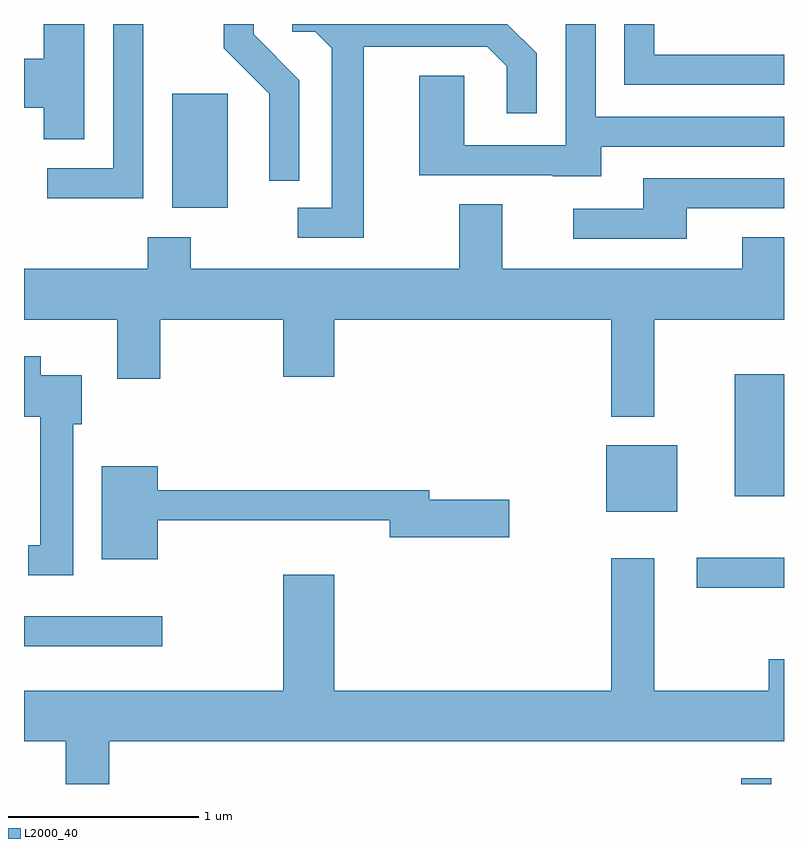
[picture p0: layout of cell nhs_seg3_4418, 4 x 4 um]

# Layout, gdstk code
import gdstk
lib = gdstk.Library(unit=1e-6, precision=1e-09)
def R(c, l, rs):  # rectangles x0, y0, x1, y1
    for r in rs: c.add(gdstk.rectangle(r[:2], r[2:], *l))
def P(c, l, *ps):  # polygons
    for p in ps: c.add(gdstk.Polygon(p, *l))
L2000_40 = (2000, 40)

nhs_seg3_4418 = lib.new_cell('nhs_seg3_4418')
R(nhs_seg3_4418, L2000_40, [(317.386,1247.892,317.544,1247.923), (313.611,1248.616,314.338,1248.774), (317.153,1248.926,317.611,1249.084), (316.676,1249.326,317.049,1249.674), (317.351,1249.406,317.611,1250.049), (314.391,1250.926,314.684,1251.524)])
P(nhs_seg3_4418, L2000_40, [(313.929,1251.892),(313.716,1251.892),(313.716,1251.709),(313.611,1251.709),(313.611,1251.451),(313.716,1251.451),(313.716,1251.286),(313.929,1251.286)],
  [(315.399,1251.771),(316.049,1251.771),(316.151,1251.669),(316.151,1251.423),(316.309,1251.423),(316.309,1251.737),(316.154,1251.892),(315.023,1251.892),(315.023,1251.851),(315.144,1251.851),(315.231,1251.764),(315.231,1250.924),(315.053,1250.924),(315.053,1250.766),(315.399,1250.766)],
  [(316.649,1251.246),(317.611,1251.246),(317.611,1251.404),(316.619,1251.404),(316.619,1251.892),(316.461,1251.892),(316.461,1251.254),(315.929,1251.254),(315.929,1251.619),(315.691,1251.619),(315.691,1251.096),(316.395,1251.096),(316.395,1251.091),(316.649,1251.091)],
  [(314.239,1251.892),(314.081,1251.892),(314.081,1251.134),(313.733,1251.134),(313.733,1250.976),(314.239,1250.976)],
  [(315.059,1251.597),(314.819,1251.837),(314.819,1251.892),(314.661,1251.892),(314.661,1251.764),(314.901,1251.524),(314.901,1251.068),(315.059,1251.068)],
  [(317.611,1251.729),(316.929,1251.729),(316.929,1251.892),(316.771,1251.892),(316.771,1251.571),(317.611,1251.571)],
  [(317.099,1250.921),(317.611,1250.921),(317.611,1251.079),(316.871,1251.079),(316.871,1250.919),(316.503,1250.919),(316.503,1250.761),(317.099,1250.761)],
  [(316.929,1250.336),(317.611,1250.336),(317.611,1250.769),(317.391,1250.769),(317.391,1250.604),(316.129,1250.604),(316.129,1250.944),(315.901,1250.944),(315.901,1250.604),(314.489,1250.604),(314.489,1250.769),(314.261,1250.769),(314.261,1250.604),(313.611,1250.604),(313.611,1250.336),(314.101,1250.336),(314.101,1250.026),(314.329,1250.026),(314.329,1250.336),(314.976,1250.336),(314.976,1250.036),(315.244,1250.036),(315.244,1250.336),(316.701,1250.336),(316.701,1249.826),(316.929,1249.826)],
  [(313.869,1249.786),(313.914,1249.786),(313.914,1250.044),(313.699,1250.044),(313.699,1250.144),(313.611,1250.144),(313.611,1249.826),(313.696,1249.826),(313.696,1249.149),(313.633,1249.149),(313.633,1248.991),(313.869,1248.991)],
  [(314.314,1249.281),(315.536,1249.281),(315.536,1249.191),(316.164,1249.191),(316.164,1249.389),(315.744,1249.389),(315.744,1249.439),(314.314,1249.439),(314.314,1249.564),(314.021,1249.564),(314.021,1249.076),(314.314,1249.076)],
  [(314.059,1248.116),(317.611,1248.116),(317.611,1248.549),(317.531,1248.549),(317.531,1248.384),(316.929,1248.384),(316.929,1249.079),(316.701,1249.079),(316.701,1248.384),(315.244,1248.384),(315.244,1248.994),(314.976,1248.994),(314.976,1248.384),(313.611,1248.384),(313.611,1248.116),(313.831,1248.116),(313.831,1247.892),(314.059,1247.892)])

lib.write_gds('nhs_seg3_4418.gds')
